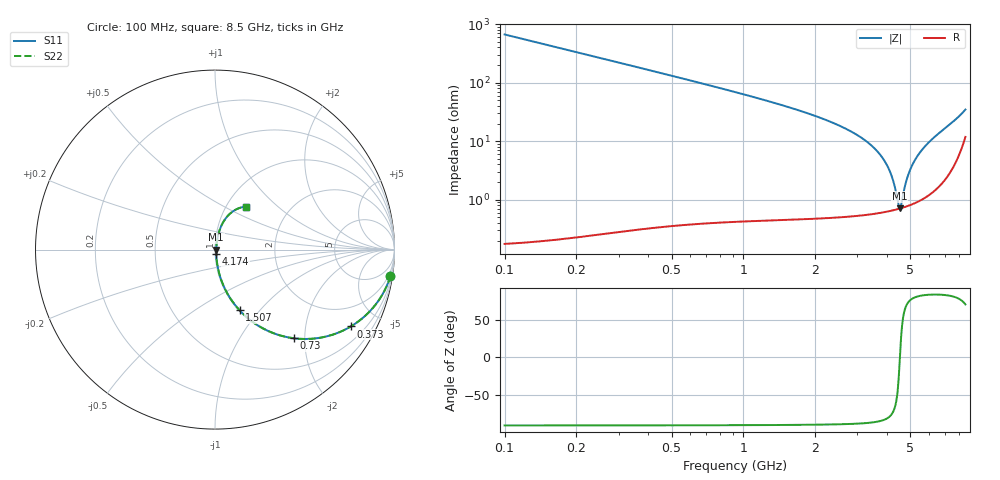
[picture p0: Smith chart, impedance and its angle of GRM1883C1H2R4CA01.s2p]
!Murata Part Number: GRM1883C1H2R4CA01
!These Parameters are Measured in Series Mode Connection
!Data Generated on Mar 30, 2021
!  o--ll--o
!Port1  Port2
!  o------o
!Operation Temp=25[degC], DC Bias Voltage=0[V]
!Freq. Start=100[MHz] Stop=9[GHz] 401[Steps]
# Hz S RI R 50
!Freq.(Hz) S11(Real) S11(Imag) S21(Real) S21(Imag) S12(Real) S12(Imag) S22(Real) S22(Imag)
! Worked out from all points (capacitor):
!   401 points, 100 MHz to 8.5 GHz, reference 50 ohm
!   read as one part in series: C = 2.4 pF near 142 MHz
!   lowest |Z| = 709 mohm at 4.51 GHz (marker M1)
!   series resonance near 4.52 GHz, so ESL is about 520 pH
!   S11 on the Smith chart (normalised r, x): 100 MHz: 1, -13; 373 MHz: 1.01, -3.53; 730 MHz: 1.01, -1.77; 1.507 GHz: 1.01, -0.79; 4.174 GHz: 1.01, -0.05; 8.5 GHz: 1.24, +0.65
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1e8  0.9777 -0.1475  0.0223 0.1475  0.0223 0.1475  0.9777 -0.1475
2.26e8  0.8952 -0.3059  0.1048 0.3059  0.1048 0.3059  0.8952 -0.3059
3.73e8  0.7566 -0.4283  0.2434 0.4283  0.2434 0.4283  0.7566 -0.4283
5.41e8  0.593 -0.4898  0.407 0.4898  0.407 0.4898  0.593 -0.4898
7.3e8  0.4394 -0.4941  0.5606 0.4941  0.5606 0.4941  0.4394 -0.4941
1.066e9  0.2587 -0.4343  0.7413 0.4343  0.7413 0.4343  0.2587 -0.4343
1.507e9  0.1366 -0.3377  0.8634 0.3377  0.8634 0.3377  0.1366 -0.3377
2.914e9  0.0231 -0.1321  0.9769 0.1321  0.9769 0.1321  0.0231 -0.1321
3.691e9  0.00965 -0.0612  0.9903 0.0612  0.9903 0.0612  0.00965 -0.0612
3.964e9  0.00778 -0.0399  0.9922 0.0399  0.9922 0.0399  0.00778 -0.0399
4.174e9  0.00706 -0.0243  0.9929 0.0243  0.9929 0.0243  0.00706 -0.0243
4.3e9  0.00689 -0.0153  0.9931 0.0153  0.9931 0.0153  0.00689 -0.0153
4.447e9  0.00692 -0.00503  0.9931 0.00503  0.9931 0.00503  0.00692 -0.00503
4.51e9  0.007 -0.000715  0.993 0.000715  0.993 0.000715  0.007 -0.000715
4.573e9  0.00713 0.00356  0.9929 -0.00356  0.9929 -0.00356  0.00713 0.00356
4.804e9  0.00795 0.0189  0.9921 -0.0189  0.9921 -0.0189  0.00795 0.0189
4.993e9  0.00901 0.0311  0.991 -0.0311  0.991 -0.0311  0.00901 0.0311
5.308e9  0.0116 0.051  0.9884 -0.051  0.9884 -0.051  0.0116 0.051
5.707e9  0.0162 0.0755  0.9838 -0.0755  0.9838 -0.0755  0.0162 0.0755
6.295e9  0.0265 0.1112  0.9735 -0.1112  0.9735 -0.1112  0.0265 0.1112
7.114e9  0.0513 0.1621  0.9487 -0.1621  0.9487 -0.1621  0.0513 0.1621
8.5e9  0.1752 0.2396  0.8248 -0.2396  0.8248 -0.2396  0.1752 0.2396
